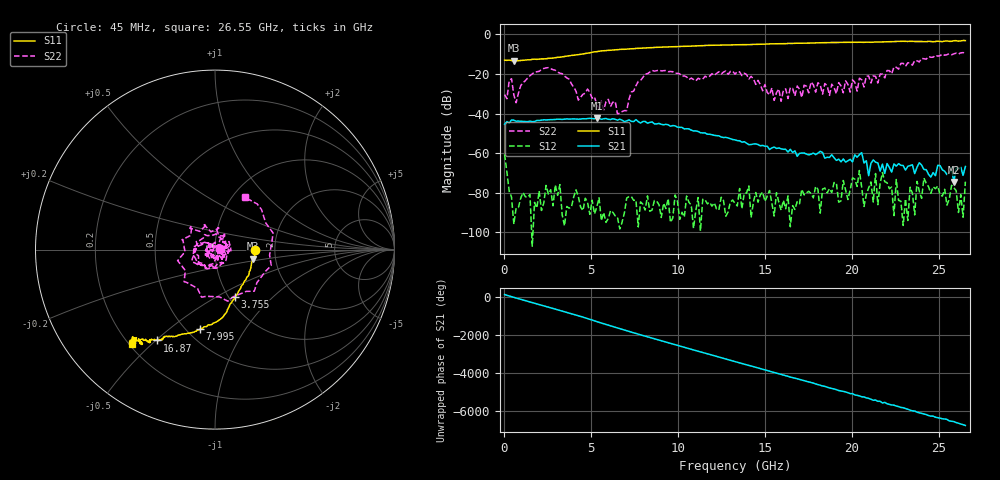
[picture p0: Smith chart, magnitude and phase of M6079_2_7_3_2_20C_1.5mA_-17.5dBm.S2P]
!  2-Port S-parameters saved by WinCal
! VAR MeasName=S-Parameters (CALIBRATED_DATA) read from VNA (C)
! VAR MeasDate=10/5/2015 5:58:20 PM
! VAR NAME=M6079_2_7_3_2_20C_1.5mA_-17.5dBm
! VAR FILENAME=M6079_2_7_3_2_20C_1.5mA_-17.5dBm.S2P
! VAR DATE=10/5/2015 5:58:20 PM
! VAR PHYS_PORTS=2,1
! VAR ObjTypeName=DATASET
! VAR IndexType=Frequency
# Hz S DB R 50
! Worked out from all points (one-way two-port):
!   201 points, 45 MHz to 26.55 GHz, reference 50 ohm
!   highest |S21| = -42.23 dB at 5.345 GHz (marker M1); lowest = -74.6 dB at 25.88 GHz (marker M2)
!   lowest |S11| = -13.3 dB at 575 MHz (marker M3), VSWR 1.55, Z = 75.9 - j8.06 ohm
!   |S11| at or under -10 dB: start of sweep to 4.47 GHz
!   |S22| runs from -40.1 to -9.2 dB; largest |S21 - S12| = 0.0078
!   S11 on the Smith chart (normalised r, x): 45 MHz: 1.57, -0.01; 3.755 GHz: 1.07, -0.62; 7.995 GHz: 0.58, -0.65; 16.87 GHz: 0.32, -0.51; 26.55 GHz: 0.21, -0.43
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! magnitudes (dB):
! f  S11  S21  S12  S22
! 45 MHz  -13.0  -45.4  -60.6  -30.4
! 310 MHz  -13.0  -44.8  -79.2  -23.3
! 575 MHz  -13.3  -43.3  -95.8  -30.5
! 2.297 GHz  -12.4  -43.1  -85.2  -17.2
! 3.755 GHz  -10.8  -42.8  -87.8  -22.6
! 4.55 GHz  -9.9  -42.6  -89.0  -30.3
! 5.345 GHz  -8.7  -42.2  -87.2  -35.3
! 7.067 GHz  -7.4  -43.7  -82.6  -38.5
! 7.995 GHz  -6.9  -44.0  -85.8  -21.8
! 8.922 GHz  -6.5  -44.9  -86.0  -18.0
! 13.29 GHz  -5.3  -53.3  -85.4  -20.1
! 15.55 GHz  -4.8  -56.9  -91.7  -33.3
! 16.87 GHz  -4.5  -61.6  -84.4  -26.1
! 17.8 GHz  -4.4  -59.9  -82.5  -25.4
! 20.45 GHz  -3.9  -60.7  -68.8  -22.1
! 20.71 GHz  -4.0  -65.0  -86.9  -26.6
! 21.38 GHz  -3.8  -64.5  -70.3  -21.2
! 21.51 GHz  -3.9  -64.9  -86.0  -24.6
! 21.77 GHz  -3.8  -65.5  -69.8  -20.1
! 22.17 GHz  -3.7  -67.2  -77.9  -18.3
! 25.88 GHz  -3.2  -74.6  -77.5  -9.8
! 26.55 GHz  -3.1  -66.7  -74.4  -9.5
